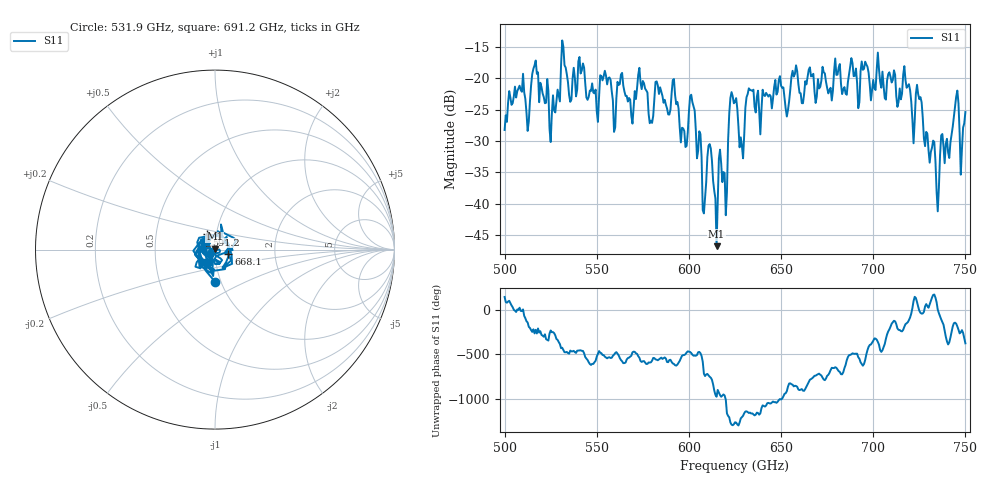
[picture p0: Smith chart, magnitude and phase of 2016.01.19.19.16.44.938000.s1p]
!Created with skrf (http://scikit-rf.org).
# GHz S RI R 50.0
!freq ReS11 ImS11
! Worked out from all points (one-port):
!   401 points, 500 GHz to 750 GHz, reference 50 ohm
!   lowest |S11| = -46.8 dB at 615 GHz (marker M1), VSWR 1.01, Z = 49.9 + j0.435 ohm
!   |S11| at or under -10 dB: start of sweep to end of sweep
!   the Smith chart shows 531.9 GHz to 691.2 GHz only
!   S11 on the Smith chart (normalised r, x): 531.9 GHz: 0.94, -0.34; 591.2 GHz: 0.90, +0.15; 668.1 GHz: 1.16, -0.06; 691.2 GHz: 0.88, -0.12
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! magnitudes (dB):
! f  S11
! 500 GHz  -28.3
! 516.9 GHz  -17.2
! 525.6 GHz  -25.7
! 531.2 GHz  -14.0
! 531.9 GHz  -15.0
! 559.4 GHz  -28.6
! 562.5 GHz  -20.9
! 579.4 GHz  -26.8
! 591.2 GHz  -20.3
! 593.8 GHz  -23.8
! 598.1 GHz  -31.0
! 601.9 GHz  -23.8
! 608.1 GHz  -41.6
! 611.2 GHz  -30.5
! 615 GHz  -46.8
! 619.4 GHz  -35.1
! 622.5 GHz  -23.1
! 625 GHz  -23.8
! 628.8 GHz  -30.8
! 632.5 GHz  -21.6
! 656.2 GHz  -18.8
! 668.1 GHz  -22.1
! 687.5 GHz  -18.1
! 691.2 GHz  -20.8
! 718.8 GHz  -21.2
! 735 GHz  -41.2
! 745 GHz  -22.9
! 750 GHz  -25.4
